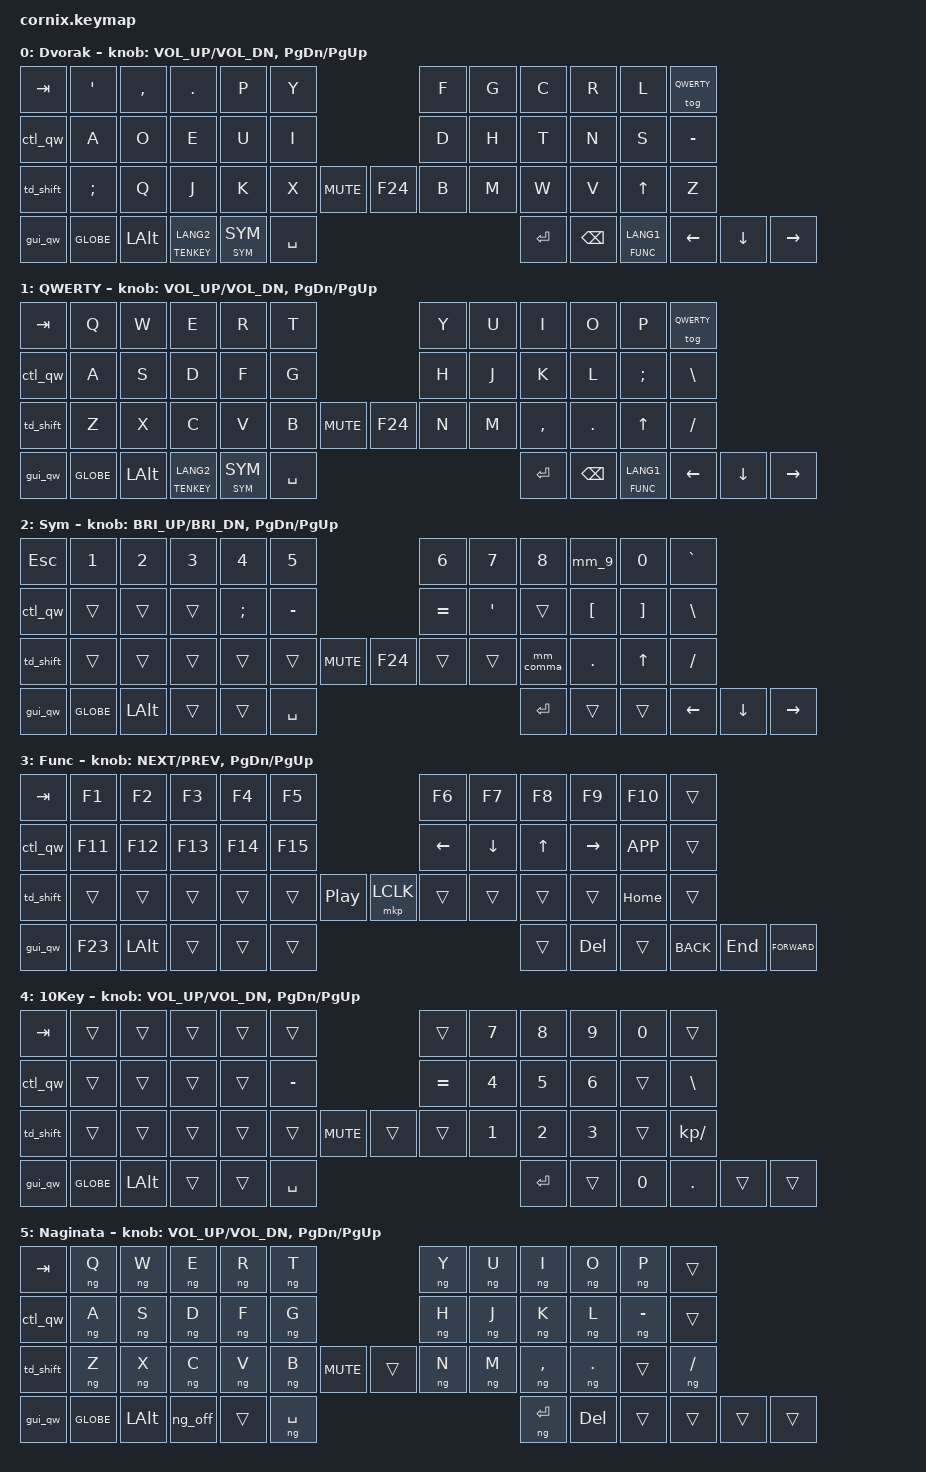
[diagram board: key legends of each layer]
/*
 * Cornix LP — ZMK keymap v7+
 * L0 BASE_DV / L1 QWERTY / L2 SYM / L3 FUNC / L4 TENKEY / L5 NAGINATA
 *
 * 配列方針: OS=US固定 / Dvorak変換はZMK / IME=LANG+かわせみ4
 *
 * エンコーダ押込 (pos30=左ノブ, pos31=右ノブ):
 *   BASE/QW/SYM: C_MUTE / F24(音声入力)
 *   FUNC: C_PP(再生停止) / LCLK(左クリック)
 *   TENKEY/NAG: C_MUTE / trans
 *
 * 薙刀式: ng_on/ng_off マクロ定義済み。入口(かなキー)は未配線=休眠。
 * 開放時: lt_func tap を ng_on に差し替えるだけ。
 *
 * 要実機確認: GLOBE keycode / 右ノブ pos31 / 囲み3段挙動 / ng マッピング
 */

#include <behaviors.dtsi>
#include <dt-bindings/zmk/keys.h>
#include <dt-bindings/zmk/pointing.h>
#include <behaviors/naginata.dtsi>

#define BASE_DV  0
#define QWERTY   1
#define SYM      2
#define FUNC     3
#define TENKEY   4
#define NAGINATA 5

/ {
    behaviors {
        lt_tk: lt_tenkey {
            compatible = "zmk,behavior-hold-tap";
            #binding-cells = <2>;
            tapping-term-ms = <200>;
            flavor = "hold-preferred";
            bindings = <&mo>, <&kp>;
        };
        lt_osl: lt_osl {
            compatible = "zmk,behavior-hold-tap";
            #binding-cells = <2>;
            tapping-term-ms = <200>;
            flavor = "hold-preferred";
            bindings = <&mo>, <&sl>;
        };
        td_shift: td_shift {
            compatible = "zmk,behavior-tap-dance";
            #binding-cells = <0>;
            tapping-term-ms = <200>;
            bindings = <&sk LSHFT>, <&caps_word>;
        };
        td_paren: td_paren {
            compatible = "zmk,behavior-tap-dance";
            #binding-cells = <0>;
            tapping-term-ms = <150>;
            bindings = <&kp LPAR>, <&wrap_par>;
        };
        td_angle: td_angle {
            compatible = "zmk,behavior-tap-dance";
            #binding-cells = <0>;
            tapping-term-ms = <150>;
            bindings = <&kp LT>, <&wrap_ang>;
        };
        mm_9: mm_9 {
            compatible = "zmk,behavior-mod-morph";
            #binding-cells = <0>;
            bindings = <&kp N9>, <&td_paren>;
            mods = <(MOD_LSFT|MOD_RSFT)>;
        };
        mm_comma: mm_comma {
            compatible = "zmk,behavior-mod-morph";
            #binding-cells = <0>;
            bindings = <&kp COMMA>, <&td_angle>;
            mods = <(MOD_LSFT|MOD_RSFT)>;
        };
    };

    macros {
        wrap_par: wrap_par {
            compatible = "zmk,behavior-macro";
            #binding-cells = <0>;
            wait-ms = <5>;
            tap-ms = <5>;
            bindings = <&kp LPAR &kp RPAR &kp LEFT>;
        };
        wrap_ang: wrap_ang {
            compatible = "zmk,behavior-macro";
            #binding-cells = <0>;
            wait-ms = <5>;
            tap-ms = <5>;
            bindings = <&kp LT &kp GT &kp LEFT>;
        };
        gui_qw: gui_qw {
            compatible = "zmk,behavior-macro";
            #binding-cells = <0>;
            wait-ms = <0>;
            tap-ms = <0>;
            bindings
                = <&macro_press &kp LGUI &mo QWERTY>
                , <&macro_pause_for_release>
                , <&macro_release &kp LGUI &mo QWERTY>
                ;
        };
        ctl_qw: ctl_qw {
            compatible = "zmk,behavior-macro";
            #binding-cells = <0>;
            wait-ms = <0>;
            tap-ms = <0>;
            bindings
                = <&macro_press &kp LCTRL &mo QWERTY>
                , <&macro_pause_for_release>
                , <&macro_release &kp LCTRL &mo QWERTY>
                ;
        };
        ng_on: ng_on {
            compatible = "zmk,behavior-macro";
            #binding-cells = <0>;
            bindings = <&macro_tap &kp LANGUAGE_1 &kp INTERNATIONAL_4 &tog NAGINATA>;
        };
        ng_off: ng_off {
            compatible = "zmk,behavior-macro";
            #binding-cells = <0>;
            bindings = <&macro_tap &kp LANGUAGE_2 &kp INTERNATIONAL_5 &tog NAGINATA>;
        };
    };

    combos {
        compatible = "zmk,combos";
        esc_combo {
            bindings = <&kp ESC>;
            key-positions = <19 20>;
            timeout-ms = <40>;
            layers = <BASE_DV QWERTY>;
        };
    };

    keymap {
        compatible = "zmk,keymap";

        base_dvorak {
            display-name = "Dvorak";
            bindings = <
&kp TAB    &kp SQT    &kp COMMA  &kp DOT   &kp P                &kp Y                              &kp F      &kp G    &kp C      &kp R     &kp L     &tog QWERTY
&ctl_qw    &kp A      &kp O      &kp E     &kp U                &kp I                              &kp D      &kp H    &kp T      &kp N     &kp S     &kp MINUS
&td_shift  &kp SEMI   &kp Q      &kp J     &kp K                &kp X      &kp C_MUTE  &kp F24    &kp B      &kp M    &kp W      &kp V     &kp UP    &kp Z
&gui_qw    &kp GLOBE  &kp LALT             &lt_tk TENKEY LANG2   &lt_osl SYM SYM    &kp SPACE   &kp ENTER  &kp BSPC   &lt_tk FUNC LANG1              &kp LEFT  &kp DOWN  &kp RIGHT
            >;
            sensor-bindings = <&inc_dec_kp C_VOL_UP C_VOL_DN &inc_dec_kp PG_DN PG_UP>;
        };

        qwerty {
            display-name = "QWERTY";
            bindings = <
&kp TAB    &kp Q      &kp W      &kp E     &kp R                &kp T                              &kp Y      &kp U    &kp I      &kp O     &kp P     &tog QWERTY
&ctl_qw    &kp A      &kp S      &kp D     &kp F                &kp G                              &kp H      &kp J    &kp K      &kp L     &kp SEMI  &kp BSLH
&td_shift  &kp Z      &kp X      &kp C     &kp V                &kp B      &kp C_MUTE  &kp F24    &kp N      &kp M    &kp COMMA  &kp DOT   &kp UP    &kp FSLH
&gui_qw    &kp GLOBE  &kp LALT             &lt_tk TENKEY LANG2   &lt_osl SYM SYM    &kp SPACE   &kp ENTER  &kp BSPC   &lt_tk FUNC LANG1              &kp LEFT  &kp DOWN  &kp RIGHT
            >;
            sensor-bindings = <&inc_dec_kp C_VOL_UP C_VOL_DN &inc_dec_kp PG_DN PG_UP>;
        };

        sym {
            display-name = "Sym";
            bindings = <
&kp ESC    &kp N1     &kp N2     &kp N3    &kp N4               &kp N5                             &kp N6     &kp N7   &kp N8     &mm_9     &kp N0    &kp GRAVE
&ctl_qw    &trans     &trans     &trans    &kp SEMI             &kp MINUS                          &kp EQUAL  &kp SQT  &trans     &kp LBKT  &kp RBKT  &kp BSLH
&td_shift  &trans     &trans     &trans    &trans               &trans     &kp C_MUTE  &kp F24    &trans     &trans   &mm_comma  &kp DOT   &kp UP    &kp FSLH
&gui_qw    &kp GLOBE  &kp LALT             &trans               &trans     &kp SPACE   &kp ENTER  &trans     &trans              &kp LEFT  &kp DOWN   &kp RIGHT
            >;
            sensor-bindings = <&inc_dec_kp C_BRI_UP C_BRI_DN &inc_dec_kp PG_DN PG_UP>;
        };

        func {
            display-name = "Func";
            bindings = <
&kp TAB    &kp F1     &kp F2     &kp F3    &kp F4               &kp F5                             &kp F6     &kp F7   &kp F8     &kp F9    &kp F10   &trans
&ctl_qw    &kp F11    &kp F12    &kp F13   &kp F14              &kp F15                            &kp LEFT   &kp DOWN &kp UP     &kp RIGHT &kp K_APP &trans
&td_shift  &trans     &trans     &trans    &trans               &trans     &kp C_PP    &mkp LCLK  &trans     &trans   &trans     &trans    &kp HOME  &trans
&gui_qw    &kp F23    &kp LALT             &trans               &trans     &trans      &trans     &kp DEL    &trans              &kp K_BACK &kp END  &kp K_FORWARD
            >;
            sensor-bindings = <&inc_dec_kp C_NEXT C_PREV &inc_dec_kp PG_DN PG_UP>;
        };

        tenkey {
            display-name = "10Key";
            bindings = <
&kp TAB    &trans     &trans     &trans    &trans               &trans                             &trans     &kp N7   &kp N8     &kp N9    &kp N0    &trans
&ctl_qw    &trans     &trans     &trans    &trans               &kp MINUS                          &kp EQUAL  &kp N4   &kp N5     &kp N6    &trans    &kp BSLH
&td_shift  &trans     &trans     &trans    &trans               &trans     &kp C_MUTE  &trans     &trans     &kp N1   &kp N2     &kp N3    &trans    &kp KP_DIVIDE
&gui_qw    &kp GLOBE  &kp LALT             &trans               &trans     &kp SPACE   &kp ENTER  &trans     &kp N0              &kp DOT   &trans    &trans
            >;
            sensor-bindings = <&inc_dec_kp C_VOL_UP C_VOL_DN &inc_dec_kp PG_DN PG_UP>;
        };

        naginata {
            display-name = "Naginata";
            bindings = <
&kp TAB    &ng Q      &ng W      &ng E     &ng R                &ng T                              &ng Y      &ng U    &ng I      &ng O     &ng P     &trans
&ctl_qw    &ng A      &ng S      &ng D     &ng F                &ng G                              &ng H      &ng J    &ng K      &ng L     &ng MINUS &trans
&td_shift  &ng Z      &ng X      &ng C     &ng V                &ng B      &kp C_MUTE  &trans     &ng N      &ng M    &ng COMMA  &ng DOT   &trans    &ng FSLH
&gui_qw    &kp GLOBE  &kp LALT             &ng_off              &trans     &ng SPACE   &ng ENTER  &kp DEL    &trans              &trans    &trans    &trans
            >;
            sensor-bindings = <&inc_dec_kp C_VOL_UP C_VOL_DN &inc_dec_kp PG_DN PG_UP>;
        };
    };
};
